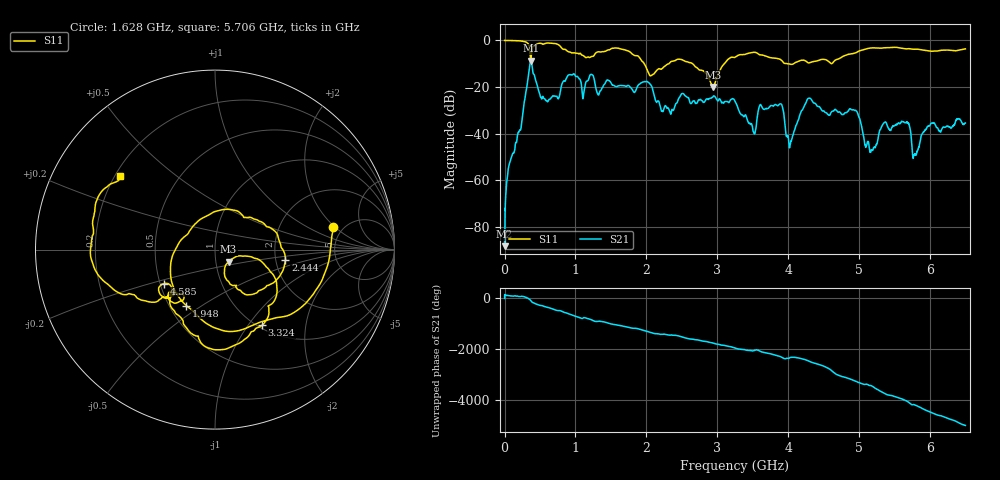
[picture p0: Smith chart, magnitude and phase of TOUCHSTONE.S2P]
!Keysight Technologies,E5063A,MY54503115,A.05.08
!Date: Fri Oct 20 10:27:56 2023
!Data & Calibration Information:
!Freq	S11:NONE(--)	S21:NONE(--)	S12:NONE(--)	S22:NONE(--)
# Hz S dB R 50
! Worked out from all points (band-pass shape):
!   10001 points, 300 kHz to 6.5 GHz, reference 50 ohm
!   highest |S21| = -8.70 dB at 370.1 MHz (marker M1); lowest = -88.2 dB at 300 kHz (marker M2)
!   |S21| within 3 dB of the highest: 350.6 MHz to 390.4 MHz (39.73 MHz wide, 10.7 % of centre)
!   lowest |S11| = -19.9 dB at 2.939 GHz (marker M3), VSWR 1.22, Z = 57.6 - j7.73 ohm
!   |S11| at or under -10 dB: 1.971 GHz to 2.315 GHz (344 MHz wide, 16.1 % of centre); 2.653 GHz to 3.097 GHz (444.1 MHz wide, 15.4 % of centre); 4.002 GHz to 4.075 GHz (72.52 MHz wide, 1.8 % of centre)
!   S12 and S22 are empty: the file has one direction only
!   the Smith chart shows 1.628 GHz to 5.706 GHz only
!   S11 on the Smith chart (normalised r, x): 1.628 GHz: 4.15, +1.88; 1.948 GHz: 0.61, -0.43; 2.444 GHz: 2.26, -0.30; 3.324 GHz: 1.04, -1.17; 4.585 GHz: 0.53, -0.22; 5.706 GHz: 0.22, +0.33
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300000  0.01 -0.6  -88.18 -32.8  -200.00 0.0  -200.00 0.0
2.277895e8  -0.21 -73.9  -38.10 45.8  -200.00 0.0  -200.00 0.0
3.701329e8  -7.89 -112.5  -8.70 -121.8  -200.00 0.0  -200.00 0.0
5.833231e8  -1.17 172.5  -25.80 -4.6  -200.00 0.0  -200.00 0.0
7.256665e8  -1.39 98.8  -23.91 -130.5  -200.00 0.0  -200.00 0.0
8.777595e8  -4.38 -0.0  -15.86 115.1  -200.00 0.0  -200.00 0.0
1.0838e9  -6.10 -164.9  -18.98 -90.4  -200.00 0.0  -200.00 0.0
1.628475e9  -3.49 10.7  -19.30 -9.0  -200.00 0.0  -200.00 0.0
1.94761e9  -9.11 -117.2  -17.79 176.7  -200.00 0.0  -200.00 0.0
2.1673e9  -12.29 64.9  -25.90 27.0  -200.00 0.0  -200.00 0.0
2.443537e9  -8.03 -8.2  -25.94 -44.3  -200.00 0.0  -200.00 0.0
2.939464e9  -19.94 -41.2  -24.06 30.5  -200.00 0.0  -200.00 0.0
3.25015e9  -7.20 -46.9  -26.08 -169.6  -200.00 0.0  -200.00 0.0
3.324247e9  -6.08 -58.2  -31.26 148.8  -200.00 0.0  -200.00 0.0
3.89102e9  -8.13 -129.9  -27.13 -140.0  -200.00 0.0  -200.00 0.0
4.032714e9  -10.22 -127.2  -43.91 -169.2  -200.00 0.0  -200.00 0.0
4.33365e9  -9.21 -132.2  -25.67 -3.8  -200.00 0.0  -200.00 0.0
4.585188e9  -9.35 -146.3  -32.07 92.9  -200.00 0.0  -200.00 0.0
5.41715e9  -3.07 163.2  -37.75 162.6  -200.00 0.0  -200.00 0.0
5.705737e9  -3.51 142.1  -36.12 -131.5  -200.00 0.0  -200.00 0.0
5.785033e9  -3.76 137.8  -49.02 139.8  -200.00 0.0  -200.00 0.0
6.5e9  -3.62 109.0  -35.43 57.8  -200.00 0.0  -200.00 0.0
